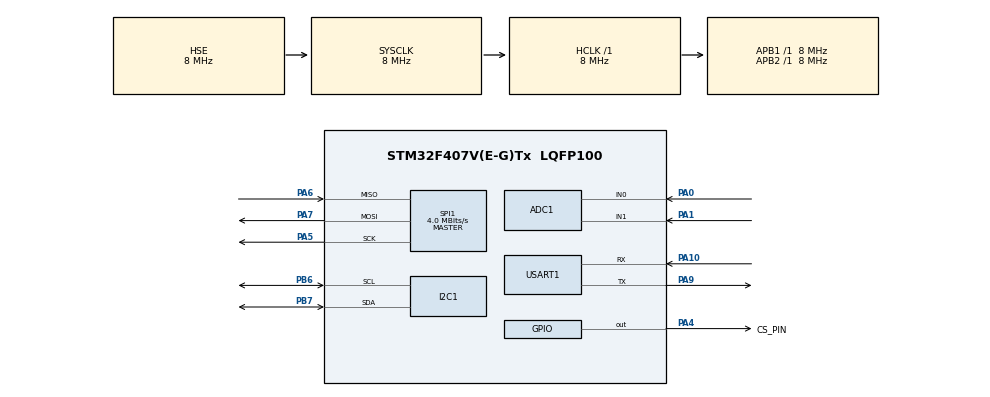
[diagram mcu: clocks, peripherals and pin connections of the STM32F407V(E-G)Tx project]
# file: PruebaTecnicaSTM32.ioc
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ADC1.Channel-0\#ChannelRegularConversion=ADC_CHANNEL_0
ADC1.Channel-1\#ChannelRegularConversion=ADC_CHANNEL_1
ADC1.ContinuousConvMode=ENABLE
ADC1.DMAContinuousRequests=ENABLE
ADC1.InjNumberOfConversion=0
ADC1.NbrOfConversion=2
ADC1.NbrOfConversionFlag=1
ADC1.Rank-0\#ChannelRegularConversion=1
ADC1.Rank-1\#ChannelRegularConversion=2
ADC1.SamplingTime-0\#ChannelRegularConversion=ADC_SAMPLETIME_480CYCLES
ADC1.SamplingTime-1\#ChannelRegularConversion=ADC_SAMPLETIME_480CYCLES
ADC1.ScanConvMode=ENABLE
ADC1.master=1
Dma.ADC1.0.Direction=DMA_PERIPH_TO_MEMORY
Dma.ADC1.0.FIFOMode=DMA_FIFOMODE_DISABLE
Dma.ADC1.0.Instance=DMA2_Stream0
Dma.ADC1.0.MemDataAlignment=DMA_MDATAALIGN_HALFWORD
Dma.ADC1.0.MemInc=DMA_MINC_ENABLE
Dma.ADC1.0.Mode=DMA_CIRCULAR
Dma.ADC1.0.PeriphDataAlignment=DMA_PDATAALIGN_HALFWORD
Dma.ADC1.0.PeriphInc=DMA_PINC_DISABLE
Dma.ADC1.0.Priority=DMA_PRIORITY_LOW
Dma.Request0=ADC1
I2C1.OwnAddress=0x10
Mcu.Family=STM32F4
Mcu.Name=STM32F407V(E-G)Tx
Mcu.Package=LQFP100
NVIC.DMA2_Stream0_IRQn=true\:0\:0\:false\:false\:true\:false\:true\:true
NVIC.I2C1_ER_IRQn=true\:0\:0\:false\:false\:true\:true\:true\:true
NVIC.I2C1_EV_IRQn=true\:0\:0\:false\:false\:true\:true\:true\:true
NVIC.PriorityGroup=NVIC_PRIORITYGROUP_4
PA0-WKUP.Signal=ADCx_IN0
PA1.Signal=ADCx_IN1
PA10.Mode=Asynchronous
PA10.Signal=USART1_RX
PA4.GPIO_Label=CS_PIN
PA4.Signal=GPIO_Output
PA5.Mode=Full_Duplex_Master
PA5.Signal=SPI1_SCK
PA6.Mode=Full_Duplex_Master
PA6.Signal=SPI1_MISO
PA7.Mode=Full_Duplex_Master
PA7.Signal=SPI1_MOSI
PA9.Mode=Asynchronous
PA9.Signal=USART1_TX
PB6.Mode=I2C
PB6.Signal=I2C1_SCL
PB7.Mode=I2C
PB7.Signal=I2C1_SDA
PH0-OSC_IN.Mode=HSE-External-Oscillator
PH0-OSC_IN.Signal=RCC_OSC_IN
PH1-OSC_OUT.Mode=HSE-External-Oscillator
PH1-OSC_OUT.Signal=RCC_OSC_OUT
ProjectManager.HeapSize=0x200
ProjectManager.StackSize=0x400
ProjectManager.TargetToolchain=STM32CubeIDE
RCC.AHBFreq_Value=8000000
RCC.APB1Freq_Value=8000000
RCC.APB1TimFreq_Value=8000000
RCC.APB2Freq_Value=8000000
RCC.APB2TimFreq_Value=8000000
RCC.CortexFreq_Value=8000000
RCC.HCLKFreq_Value=8000000
RCC.HSE_VALUE=8000000
RCC.HSI_VALUE=16000000
RCC.LSE_VALUE=32768
RCC.SYSCLKFreq_VALUE=8000000
RCC.SYSCLKSource=RCC_SYSCLKSOURCE_HSE
RCC.VCOOutputFreq_Value=192000000
SH.ADCx_IN0.0=ADC1_IN0,IN0
SH.ADCx_IN1.0=ADC1_IN1,IN1
SPI1.CalculateBaudRate=4.0 MBits/s
SPI1.Direction=SPI_DIRECTION_2LINES
SPI1.Mode=SPI_MODE_MASTER
SPI1.VirtualType=VM_MASTER
USART1.VirtualMode=VM_ASYNC
board=custom

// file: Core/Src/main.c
/* USER CODE BEGIN Header */
/**
  ******************************************************************************
  * @file           : main.c
  * @brief          : Main program body
  ******************************************************************************
  * @attention
  *
  * Copyright (c) 2025 STMicroelectronics.
  * All rights reserved.
  *
  * This software is licensed under terms that can be found in the LICENSE file
  * in the root directory of this software component.
  * If no LICENSE file comes with this software, it is provided AS-IS.
  *
  ******************************************************************************
  */
/* USER CODE END Header */
#include "main.h"

/* USER CODE BEGIN Includes */
#include "registros.h"   // Variables globales de registros para comunicación
#include "adc.h"         // Módulo ADC con DMA
#include "i2c_slave.h"   // Módulo I2C modo esclavo
#include "gpio.h" 		// Mñodulo GPIO
#include "iso1H816G.h" // Módulo iso1H816G
/* USER CODE END Includes */

ADC_HandleTypeDef hadc1;       // Handle ADC1
DMA_HandleTypeDef hdma_adc1;   // Handle DMA para ADC1
I2C_HandleTypeDef hi2c1;       // Handle I2C1
UART_HandleTypeDef huart1;     // Handle USART1 para comunicación serial
SPI_HandleTypeDef hspi1;	   // Handle SPI para ISO1H816G

/* USER CODE BEGIN PV */
uint8_t registros[NUM_REGISTROS] = {0};  // Buffer de registros para datos ADC y I2C
/* USER CODE END PV */

void SystemClock_Config(void);
static void MX_GPIO_Init(void);
static void MX_DMA_Init(void);
static void MX_ADC1_Init(void);
static void MX_I2C1_Init(void);
static void MX_USART1_UART_Init(void);
static void MX_SPI1_Init(void);

int main(void)
{

  /* MCU Configuration--------------------------------------------------------*/

  /* Reset of all peripherals, Initializes the Flash interface and the Systick. */
  HAL_Init();

  /* Configure the system clock */
  SystemClock_Config();

  /* USER CODE BEGIN SysInit */
  /* Initialize all configured peripherals */

  /* USER CODE END SysInit */

  /* Initialize all configured peripherals */
  MX_GPIO_Init();
  MX_DMA_Init();
  MX_ADC1_Init();
  MX_I2C1_Init();
  MX_USART1_UART_Init();
  MX_SPI1_Init();
  /* USER CODE BEGIN 2 */
  ADC_Init();              // Inicia ADC con DMA para lectura continua
  I2C_Slave_Init(&hi2c1);  // Inicia I2C en modo esclavo con interrupciones
  uint8_t modo_anterior = registros[2];
  /* USER CODE END 2 */

  /* Infinite loop */
  while (1)
  {

    /* USER CODE BEGIN 3 */
      // Lee el estado actual de los pines PD8 a PD15
      GPIO_Leer_PD();

      // Si el modo configurado de los pines (guardado en registros[2]) ha cambiado,
      // actualiza la configuración (entrada/salida) de cada pin.
      if (modo_anterior != registros[2])
      {
          GPIO_ActualizarModo_PD();
          modo_anterior = registros[2];  // Guarda el modo actual para próximas comparaciones
      }

      // Escribe el valor almacenado en registros[3] en los pines configurados como salida
      GPIO_Escribir_PD();
      // Actualiza las salidas del ISO1H816G por SPI según registros[3] y polaridad en registros[6]
      ISO_ActualizarSalidas();
      // Retardo para evitar que el loop corra demasiado rápido y saturar el bus o procesador
      HAL_Delay(100);

  }
  /* USER CODE END 3 */
}

void SystemClock_Config(void)
{
  RCC_OscInitTypeDef RCC_OscInitStruct = {0};
  RCC_ClkInitTypeDef RCC_ClkInitStruct = {0};

  /** Configure the main internal regulator output voltage
  */
  __HAL_RCC_PWR_CLK_ENABLE();
  __HAL_PWR_VOLTAGESCALING_CONFIG(PWR_REGULATOR_VOLTAGE_SCALE1);

  /** Initializes the RCC Oscillators according to the specified parameters
  * in the RCC_OscInitTypeDef structure.
  */
  RCC_OscInitStruct.OscillatorType = RCC_OSCILLATORTYPE_HSE;
  RCC_OscInitStruct.HSEState = RCC_HSE_ON;
  RCC_OscInitStruct.PLL.PLLState = RCC_PLL_NONE;
  if (HAL_RCC_OscConfig(&RCC_OscInitStruct) != HAL_OK)
  {
    Error_Handler();
  }

  /** Initializes the CPU, AHB and APB buses clocks
  */
  RCC_ClkInitStruct.ClockType = RCC_CLOCKTYPE_HCLK|RCC_CLOCKTYPE_SYSCLK
                              |RCC_CLOCKTYPE_PCLK1|RCC_CLOCKTYPE_PCLK2;
  RCC_ClkInitStruct.SYSCLKSource = RCC_SYSCLKSOURCE_HSE;
  RCC_ClkInitStruct.AHBCLKDivider = RCC_SYSCLK_DIV1;
  RCC_ClkInitStruct.APB1CLKDivider = RCC_HCLK_DIV1;
  RCC_ClkInitStruct.APB2CLKDivider = RCC_HCLK_DIV1;

  if (HAL_RCC_ClockConfig(&RCC_ClkInitStruct, FLASH_LATENCY_0) != HAL_OK)
  {
    Error_Handler();
  }
}

static void MX_ADC1_Init(void)
{

  ADC_ChannelConfTypeDef sConfig = {0};

  /** Configure the global features of the ADC (Clock, Resolution, Data Alignment and number of conversion)
  */
  hadc1.Instance = ADC1;
  hadc1.Init.ClockPrescaler = ADC_CLOCK_SYNC_PCLK_DIV2;
  hadc1.Init.Resolution = ADC_RESOLUTION_12B;
  hadc1.Init.ScanConvMode = ENABLE;
  hadc1.Init.ContinuousConvMode = ENABLE;
  hadc1.Init.DiscontinuousConvMode = DISABLE;
  hadc1.Init.ExternalTrigConvEdge = ADC_EXTERNALTRIGCONVEDGE_NONE;
  hadc1.Init.ExternalTrigConv = ADC_SOFTWARE_START;
  hadc1.Init.DataAlign = ADC_DATAALIGN_RIGHT;
  hadc1.Init.NbrOfConversion = 2;
  hadc1.Init.DMAContinuousRequests = ENABLE;
  hadc1.Init.EOCSelection = ADC_EOC_SINGLE_CONV;
  if (HAL_ADC_Init(&hadc1) != HAL_OK)
  {
    Error_Handler();
  }

  /** Configure for the selected ADC regular channel its corresponding rank in the sequencer and its sample time.
  */
  sConfig.Channel = ADC_CHANNEL_0;
  sConfig.Rank = 1;
  sConfig.SamplingTime = ADC_SAMPLETIME_480CYCLES;
  if (HAL_ADC_ConfigChannel(&hadc1, &sConfig) != HAL_OK)
  {
    Error_Handler();
  }

  /** Configure for the selected ADC regular channel its corresponding rank in the sequencer and its sample time.
  */
  sConfig.Channel = ADC_CHANNEL_1;
  sConfig.Rank = 2;
  sConfig.SamplingTime = ADC_SAMPLETIME_480CYCLES;
  if (HAL_ADC_ConfigChannel(&hadc1, &sConfig) != HAL_OK)
  {
    Error_Handler();
  }

}

static void MX_I2C1_Init(void)
{

  hi2c1.Instance = I2C1;
  hi2c1.Init.ClockSpeed = 100000; // 100 kHz estándar
  hi2c1.Init.DutyCycle = I2C_DUTYCYCLE_2;
  hi2c1.Init.OwnAddress1 = 0x50 << 1; // Dirección esclavo 0x50
  hi2c1.Init.AddressingMode = I2C_ADDRESSINGMODE_7BIT;
  hi2c1.Init.DualAddressMode = I2C_DUALADDRESS_DISABLE;
  hi2c1.Init.OwnAddress2 = 0;
  hi2c1.Init.GeneralCallMode = I2C_GENERALCALL_DISABLE;
  hi2c1.Init.NoStretchMode = I2C_NOSTRETCH_DISABLE;
  if (HAL_I2C_Init(&hi2c1) != HAL_OK)
  {
    Error_Handler();
  }

}

static void MX_SPI1_Init(void)
{

  /* SPI1 parameter configuration*/
  hspi1.Instance = SPI1;
  hspi1.Init.Mode = SPI_MODE_MASTER;
  hspi1.Init.Direction = SPI_DIRECTION_2LINES;
  hspi1.Init.DataSize = SPI_DATASIZE_8BIT;
  hspi1.Init.CLKPolarity = SPI_POLARITY_LOW;
  hspi1.Init.CLKPhase = SPI_PHASE_1EDGE;
  hspi1.Init.NSS = SPI_NSS_SOFT;
  hspi1.Init.BaudRatePrescaler = SPI_BAUDRATEPRESCALER_2;
  hspi1.Init.FirstBit = SPI_FIRSTBIT_MSB;
  hspi1.Init.TIMode = SPI_TIMODE_DISABLE;
  hspi1.Init.CRCCalculation = SPI_CRCCALCULATION_DISABLE;
  hspi1.Init.CRCPolynomial = 10;
  if (HAL_SPI_Init(&hspi1) != HAL_OK)
  {
    Error_Handler();
  }

}

static void MX_USART1_UART_Init(void)
{

  huart1.Instance = USART1;
  huart1.Init.BaudRate = 115200;
  huart1.Init.WordLength = UART_WORDLENGTH_8B;
  huart1.Init.StopBits = UART_STOPBITS_1;
  huart1.Init.Parity = UART_PARITY_NONE;
  huart1.Init.Mode = UART_MODE_TX_RX;
  huart1.Init.HwFlowCtl = UART_HWCONTROL_NONE;
  huart1.Init.OverSampling = UART_OVERSAMPLING_16;
  if (HAL_UART_Init(&huart1) != HAL_OK)
  {
    Error_Handler();
  }

}

static void MX_DMA_Init(void)
{

  /* DMA controller clock enable */
  __HAL_RCC_DMA2_CLK_ENABLE();

  /* DMA interrupt init */
  /* DMA2_Stream0_IRQn interrupt configuration */
  HAL_NVIC_SetPriority(DMA2_Stream0_IRQn, 0, 0);
  HAL_NVIC_EnableIRQ(DMA2_Stream0_IRQn);

}

static void MX_GPIO_Init(void)
{
  GPIO_InitTypeDef GPIO_InitStruct = {0};

  /* GPIO Ports Clock Enable */
  __HAL_RCC_GPIOH_CLK_ENABLE();
  __HAL_RCC_GPIOA_CLK_ENABLE();
  __HAL_RCC_GPIOB_CLK_ENABLE();

  /*Configure GPIO pin Output Level */
  HAL_GPIO_WritePin(CS_PIN_GPIO_Port, CS_PIN_Pin, GPIO_PIN_RESET);

  /*Configure GPIO pin : CS_PIN_Pin */
  GPIO_InitStruct.Pin = CS_PIN_Pin;
  GPIO_InitStruct.Mode = GPIO_MODE_OUTPUT_PP;
  GPIO_InitStruct.Pull = GPIO_NOPULL;
  GPIO_InitStruct.Speed = GPIO_SPEED_FREQ_LOW;
  HAL_GPIO_Init(CS_PIN_GPIO_Port, &GPIO_InitStruct);

  /* USER CODE BEGIN MX_GPIO_Init_2 */
	  /* Configura GPIO pins : PD8 PD9 PD10 PD11
	                           PD12 PD13 PD14 PD15 */
	  GPIO_InitStruct.Pin = GPIO_PIN_8|GPIO_PIN_9|GPIO_PIN_10|GPIO_PIN_11
	                          |GPIO_PIN_12|GPIO_PIN_13|GPIO_PIN_14|GPIO_PIN_15;
	  GPIO_InitStruct.Mode = GPIO_MODE_INPUT;
	  GPIO_InitStruct.Pull = GPIO_NOPULL;
	  HAL_GPIO_Init(GPIOD, &GPIO_InitStruct);
  /* USER CODE END MX_GPIO_Init_2 */
}

/* USER CODE BEGIN 4 */
/* Callbacks que redirigen a funciones específicas de ADC e I2C */
void HAL_ADC_ConvCpltCallback(ADC_HandleTypeDef* hadc)
{
    ADC_ConvCompleteCallback(hadc);  // Manejo lectura ADC completa
}

void HAL_I2C_AddrCallback(I2C_HandleTypeDef *hi2c, uint8_t TransferDirection, uint16_t AddrMatchCode)
{
    I2C_Slave_AddrCallback(hi2c, TransferDirection, AddrMatchCode);  // Dirección I2C detectada
}

void HAL_I2C_SlaveRxCpltCallback(I2C_HandleTypeDef *hi2c)
{
    I2C_Slave_RxCpltCallback(hi2c);  // Recepción I2C completa
}

void HAL_I2C_SlaveTxCpltCallback(I2C_HandleTypeDef *hi2c)
{
    I2C_Slave_TxCpltCallback(hi2c);  // Transmisión I2C completa
}

/* USER CODE END 4 */

void Error_Handler(void)
{
  __disable_irq();
  while (1)
  {
  }
}
